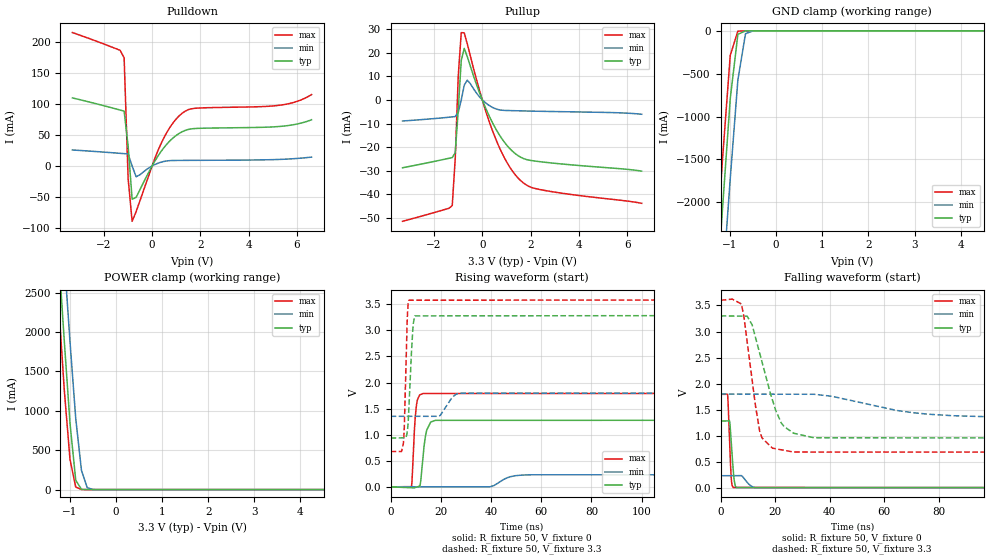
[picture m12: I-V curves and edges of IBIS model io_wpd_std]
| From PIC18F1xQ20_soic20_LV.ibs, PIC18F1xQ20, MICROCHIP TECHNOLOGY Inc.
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[Model] io_wpd_std
Model_type I/O
Vinl  =  0.8
Vinh  =  2
| Capacitance   typ   min   max
C_comp   2.483675929654127e-12   2.463511073564505e-12   2.647142046368805e-12
[Model Spec]
| Subparameter   typ   min   max
Vinl   1.5   0.81   1.65
Vinh   3.6   1.89   3.85
Vmeas   2.5   1.35   2.75
| Variables   typ   min   max
[GND Clamp Reference]   0   0   0
[POWER Clamp Reference]   3.3   1.8   3.6
[Pulldown Reference]   0   0   0
[Pullup Reference]   3.3   1.8   3.6
[Temperature Range]   25   125   -40
[Voltage Range]   3.3   1.8   3.6
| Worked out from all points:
|   slope of the pulldown table from 0 to 0.495 V, typ, clamps not added: 16.7 ohm
|   slope of the pullup table from 0 to 0.495 V, typ, clamps not added: 44.8 ohm
|   GND clamp passes 1 mA (typ) near -0.66 V on its own axis
|   POWER clamp passes 1 mA (typ) near -0.65 V on its own axis
|   falling waveform, R_fixture 50, V_fixture 0: 20-80 % time 1.06ns typ, 2.4ns min, 823ps max; typ from 1.28 V to 0 V
|   falling waveform, R_fixture 50, V_fixture 3.3: 20-80 % time 7.78ns typ, 25.7ns min, 4.57ns max; typ from 3.3 V to 0.936 V
|   rising waveform, R_fixture 50, V_fixture 0: 20-80 % time 1.82ns typ, 5.27ns min, 1.25ns max; typ from 0 V to 1.28 V
|   rising waveform, R_fixture 50, V_fixture 3.3: 20-80 % time 1.43ns typ, 3.77ns min, 978ps max; typ from 0.936 V to 3.3 V
[GND Clamp]
| Voltage   I(typ)   I(min)   I(max)
-3.3V     -18.84A    -18.97A    -18.81A
-1.324V   -3.355A    -4.2A      -2.821A
-1.159V   -2.058A    -2.962A    -1.482A
-993.1mV  -791.4mA   -1.724A    -285.7mA
-827.6mV  -40.7mA    -571.9mA   -3.274mA
-662.1mV  -676.8uA   -33.3mA    -477.2uA
-496.6mV  -18.05uA   -400.8uA   -5.014uA
6.6V      0A         0A         0A
[POWER Clamp]
| Voltage   I(typ)   I(min)   I(max)
-3.3V     21.47A     21.8A      21.32A
-1.366V   4.117A     5.085A     3.517A
-1.241V   3.003A     4.012A     2.375A
-1.117V   1.89A      2.94A      1.267A
-993.1mV  844.1mA    1.877A     383.7mA
-869mV    119.8mA    904.7mA    32.43mA
-744.8mV  2.933mA    244.5mA    1.347mA
-620.7mV  318.4uA    25.24mA    377.7uA
-496.6mV  24.48uA    984.8uA    41.86uA
6.6V      0A         0A         0A
[Pulldown]
| Voltage   I(typ)   I(min)   I(max)
-3.3V     109.4mA    25.68mA    214.5mA
-1.324V   89.88mA    20.27mA    185.9mA
-1.159V   88.12mA    19.77mA    173.8mA
-993.1mV  31.88mA    19.25mA    -20.25mA
-827.6mV  -53.52mA   -38.8uA    -89.02mA
-662.1mV  -50.57mA   -17.43mA   -73.42mA
341.4mV   21.7mA     5.717mA    33.47mA
796.6mV   42.57mA    8.672mA    65.49mA
1.252V    55.15mA    8.913mA    85mA
1.821V    60.27mA    9.023mA    92.84mA
5.286V    63.53mA    10.51mA    97.64mA
6.6V      74.27mA    14.23mA    114.7mA
[Pullup]
| Voltage   I(typ)   I(min)   I(max)
-3.3V     -28.7mA    -8.943mA   -51.33mA
-1.241V   -24.41mA   -7.199mA   -44.6mA
-1.117V   -22.37mA   -7.062mA   -24.69mA
-993.1mV  -4.232mA   -5.311mA   10.1mA
-869mV    16.63mA    -60.81uA   28.44mA
-744.8mV  21.75mA    6.171mA    28.29mA
-620.7mV  18.28mA    8.311mA    23.71mA
455.2mV   -10.29mA   -3.355mA   -13.89mA
1.024V    -19.27mA   -4.499mA   -26.48mA
1.593V    -24.26mA   -4.657mA   -34.17mA
2.503V    -26.27mA   -4.856mA   -38.14mA
6.6V      -30.13mA   -6.092mA   -43.74mA
[Ramp]
dV/dt_r   0.768807/1.81768n  0.139528/5.26537n  1.07649/1.24971n
dV/dt_f   1.41823/7.77815n  0.268061/25.6567n  1.75309/4.56956n
R_load = 50
[Falling Waveform]
R_fixture = 50
V_fixture = 0
V_fixture_min = 0
V_fixture_max = 0
| Time   V(typ)   V(min)   V(max)
0s        1.281V     232.5mV    1.794V
2.559ns   1.285V     233.3mV    1.774V
3.314ns   1.269V     233.5mV    832.8mV
3.746ns   971.3mV    233.7mV    296.2mV
4.147ns   667.1mV    233.8mV    49.75mV
4.578ns   358.3mV    233.9mV    7.154mV
4.95ns    149.2mV    234mV      7.149mV
5.777ns   5.757mV    234.3mV    7.138mV
12.86ns   5.684mV    2.554mV    7.048mV
562.5ns   21.67pV    4.555nV    -70.33pV
[Falling Waveform]
R_fixture = 50
V_fixture = 3.3
V_fixture_min = 1.8
V_fixture_max = 3.6
| Time   V(typ)   V(min)   V(max)
0s        3.3V       1.8V       3.6V
7.591ns   3.295V     1.799V     3.528V
11.52ns   3.129V     1.799V     2.072V
14.34ns   2.576V     1.798V     1.077V
15.15ns   2.416V     1.798V     958.7mV
20.19ns   1.485V     1.797V     749.9mV
22.26ns   1.242V     1.797V     730.1mV
26.7ns    1.051V     1.797V     687.8mV
99.44ns   958mV      1.363V     686.5mV
562.5ns   936.3mV    1.353V     678.2mV
[Rising Waveform]
R_fixture = 50
V_fixture = 0
V_fixture_min = 0
V_fixture_max = 0
| Time   V(typ)   V(min)   V(max)
0s        -69.41pV   4.481nV    -78.92pV
8.337ns   -16.66mV   221.5uV    5.23mV
9.516ns   -17.74mV   252.8uV    1.106V
10.29ns   -5.466mV   273.4uV    1.561V
11.71ns   16.86mV    311uV      1.766V
12.93ns   572.3mV    343.5uV    1.791V
14.4ns    1.09V      382.5uV    1.791V
17.84ns   1.276V     473.9uV    1.791V
56.48ns   1.276V     231.8mV    1.791V
562.5ns   1.281V     232.5mV    1.794V
[Rising Waveform]
R_fixture = 50
V_fixture = 3.3
V_fixture_min = 1.8
V_fixture_max = 3.6
| Time   V(typ)   V(min)   V(max)
0s        936.3mV    1.353V     678.2mV
5.078ns   941mV      1.353V     828.2mV
5.49ns    941.4mV    1.353V     1.165V
6.605ns   1.046V     1.353V     3.164V
7.308ns   1.529V     1.353V     3.579V
8.847ns   3.009V     1.353V     3.579V
9.611ns   3.279V     1.353V     3.579V
19.45ns   3.279V     1.359V     3.58V
27.81ns   3.28V      1.797V     3.58V
562.5ns   3.3V       1.8V       3.6V
